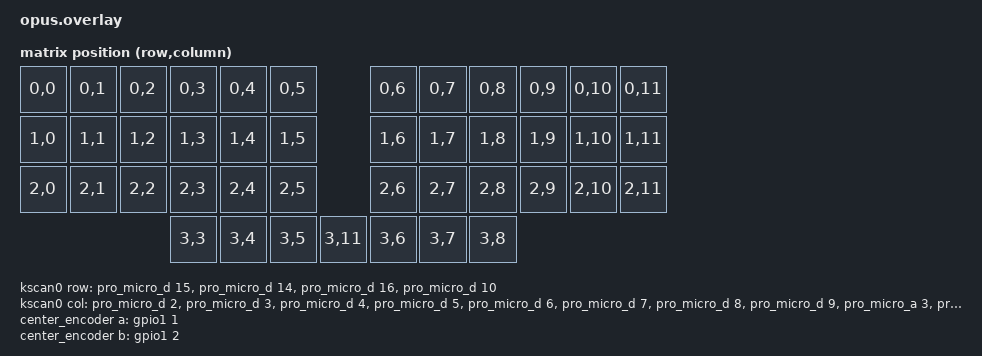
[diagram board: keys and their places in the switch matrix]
#include <dt-bindings/zmk/matrix_transform.h>
#include "opus-layouts.dtsi"

/ {
    chosen {
        zmk,kscan = &kscan0;
        zmk,physical-layout = &physical_layout0;
    };

    kscan0: kscan_0 {
        compatible = "zmk,kscan-gpio-matrix";
        label = "KSCAN";
        diode-direction = "col2row";

        col-gpios
            = <&pro_micro_d 2 GPIO_ACTIVE_HIGH>
            , <&pro_micro_d 3 GPIO_ACTIVE_HIGH>
            , <&pro_micro_d 4 GPIO_ACTIVE_HIGH>
            , <&pro_micro_d 5 GPIO_ACTIVE_HIGH>
            , <&pro_micro_d 6 GPIO_ACTIVE_HIGH>
            , <&pro_micro_d 7 GPIO_ACTIVE_HIGH>
            , <&pro_micro_d 8 GPIO_ACTIVE_HIGH>
            , <&pro_micro_d 9 GPIO_ACTIVE_HIGH>
            , <&pro_micro_a 3 GPIO_ACTIVE_HIGH>
            , <&pro_micro_a 2 GPIO_ACTIVE_HIGH>
            , <&pro_micro_a 1 GPIO_ACTIVE_HIGH>
            , <&pro_micro_a 0 GPIO_ACTIVE_HIGH>
            ;

        row-gpios
            = <&pro_micro_d 15 (GPIO_ACTIVE_HIGH | GPIO_PULL_DOWN)>
            , <&pro_micro_d 14 (GPIO_ACTIVE_HIGH | GPIO_PULL_DOWN)>
            , <&pro_micro_d 16 (GPIO_ACTIVE_HIGH | GPIO_PULL_DOWN)>
            , <&pro_micro_d 10 (GPIO_ACTIVE_HIGH | GPIO_PULL_DOWN)>
            ;
    };

    default_transform: keymap_transform_0 {
        compatible = "zmk,matrix-transform";
        columns = <12>;
        rows = <4>;
        map = <
          RC(0,0) RC(0,1) RC(0,2) RC(0,3) RC(0,4) RC(0,5)             RC(0,6) RC(0,7) RC(0,8) RC(0,9) RC(0,10) RC(0,11)
          RC(1,0) RC(1,1) RC(1,2) RC(1,3) RC(1,4) RC(1,5)             RC(1,6) RC(1,7) RC(1,8) RC(1,9) RC(1,10) RC(1,11)
          RC(2,0) RC(2,1) RC(2,2) RC(2,3) RC(2,4) RC(2,5)             RC(2,6) RC(2,7) RC(2,8) RC(2,9) RC(2,10) RC(2,11)
                                  RC(3,3) RC(3,4) RC(3,5)   RC(3,11)  RC(3,6) RC(3,7) RC(3,8)
        >;
    };

    center_encoder: encoder_center {
        compatible = "alps,ec11";
        a-gpios = <&gpio1 1 (GPIO_ACTIVE_HIGH | GPIO_PULL_UP)>;
        b-gpios = <&gpio1 2 (GPIO_ACTIVE_HIGH | GPIO_PULL_UP)>;
        steps = <80>;
    };

    sensors {
        compatible = "zmk,keymap-sensors";
        sensors = <&center_encoder>;
        triggers-per-rotation = <20>;
    };
};

&center_encoder {
    status = "okay";
};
